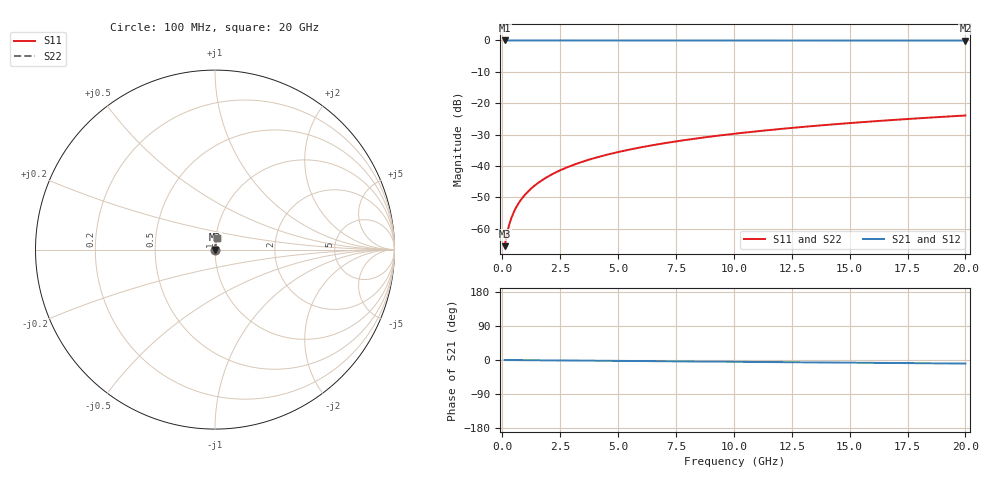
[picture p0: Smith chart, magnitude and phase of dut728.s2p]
! Touchstone file exported from HFSS 2026.1.0
!  File:  C:/ffzhzh/LocalFiles/Ansys_Project_Files/temp_train_TSV_728_1783182453_18472.aedt
!  Generated:  12:29:22 AM Jul  5, 2026
!  Design:  TSV
!  Project:  temp_train_TSV_728_1783182453_18472
! Variables:
!  h_bsmrdl = 2um
!  h_ox = 20um
!  h_rdl = 5um
!  h_sub = 86.65um
!  h_tmrdl = 5um
!  h_tsv = 86.65um
!  h_via = 3um
!  l_bsmrdl = 300um
!  l_sub = 410.68um
!  l_tmrdl = 200um
!  m_sub = 200um
!  pitch = 39.25um
!  r_tsv = 5.34um
!  s_tmrdl = 10um
!  w_bsmrdl = 18um
!  w_sub = 500um
!  w_tmrdl = 12um
!  x_tsv_center1 = 206um
!  x_tsv_center2 = 524um
!  x_tsv_center3 = 736um
!  x_tsv_center4 = 1054um
!  x_tsv_center5 = 1266um
!  x_tsv_center6 = 1584um
# GHz S MA R 50.000000
! Terminal data exported
! Port[1] = TSV1_1_T1
! Port[2] = TSV1_1_T2
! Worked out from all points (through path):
!   200 points, 100 MHz to 20 GHz, reference 50 ohm
!   highest |S21| = 0.00 dB at 100 MHz (marker M1); lowest = 0.0 dB at 20 GHz (marker M2)
!   group delay of S21, straight-line fit = 1.3 ps
!   lowest |S11| = -65.5 dB at 100 MHz (marker M3), VSWR 1.00, Z = 50 + j0.0367 ohm
!   |S11| at or under -10 dB: start of sweep to end of sweep
!   |S22| runs from -65.5 to -23.9 dB; largest |S21 - S12| = 2.3e-15
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0.1  0.0005279 43.9  0.9996 -0.0  0.9996 -0.0  0.0005279 43.9
! Gamma 0 0 0 0
! Port Impedance 50 0 50 0
0.2  0.0008284 61.8  0.9996 -0.1  0.9996 -0.1  0.0008284 61.8
0.3  0.001164 69.5  0.9996 -0.1  0.9996 -0.1  0.001164 69.5
0.4  0.001508 73.5  0.9996 -0.2  0.9996 -0.2  0.001508 73.5
0.5  0.001852 75.9  0.9996 -0.2  0.9996 -0.2  0.001852 75.9
0.7  0.002536 78.7  0.9995 -0.3  0.9995 -0.3  0.002536 78.7
0.8  0.002874 79.5  0.9995 -0.4  0.9995 -0.4  0.002874 79.5
1  0.003547 80.8  0.9995 -0.5  0.9995 -0.5  0.003547 80.8
1.2  0.004217 81.6  0.9994 -0.6  0.9994 -0.6  0.004217 81.6
1.4  0.004884 82.2  0.9994 -0.7  0.9994 -0.7  0.004884 82.2
1.7  0.005882 82.9  0.9993 -0.8  0.9993 -0.8  0.005883 82.9
2  0.006878 83.3  0.9993 -1.0  0.9993 -1.0  0.006878 83.3
2.7  0.009191 83.8  0.9992 -1.3  0.9992 -1.3  0.009191 83.8
3.5  0.01181 84.0  0.999 -1.7  0.999 -1.7  0.01181 84.0
4.2  0.01408 84.0  0.9989 -2.0  0.9989 -2.0  0.01408 84.0
5  0.01666 83.9  0.9988 -2.4  0.9988 -2.4  0.01666 83.9
6.8  0.02242 83.5  0.9985 -3.2  0.9985 -3.2  0.02242 83.5
8.3  0.02718 83.1  0.9982 -3.9  0.9982 -3.9  0.02718 83.1
10.1  0.03287 82.5  0.9979 -4.8  0.9979 -4.8  0.03287 82.5
13.4  0.04325 81.3  0.9973 -6.3  0.9973 -6.3  0.04325 81.3
16.7  0.05355 80.0  0.9966 -7.8  0.9966 -7.8  0.05355 80.0
20  0.06376 78.7  0.9958 -9.3  0.9958 -9.3  0.06376 78.7
